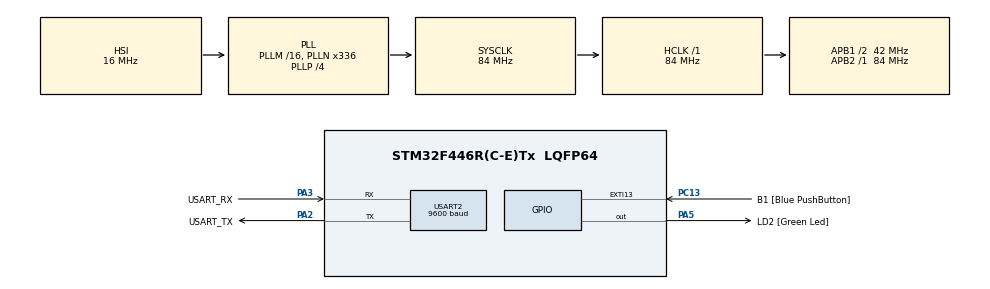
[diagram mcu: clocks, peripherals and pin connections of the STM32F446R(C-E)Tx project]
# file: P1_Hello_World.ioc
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Mcu.Family=STM32F4
Mcu.Name=STM32F446R(C-E)Tx
Mcu.Package=LQFP64
NVIC.PriorityGroup=NVIC_PRIORITYGROUP_4
NVIC.TIM5_IRQn=true\:0\:0\:false\:false\:true\:false\:true\:true
NVIC.TimeBase=TIM5_IRQn
NVIC.TimeBaseIP=TIM5
NVIC.USART2_IRQn=true\:0\:0\:false\:false\:true\:true\:true\:true
PA13.GPIO_Label=TMS
PA13.Signal=SYS_JTMS-SWDIO
PA14.GPIO_Label=TCK
PA14.Signal=SYS_JTCK-SWCLK
PA2.GPIO_Label=USART_TX
PA2.Mode=Asynchronous
PA2.Signal=USART2_TX
PA3.GPIO_Label=USART_RX
PA3.Mode=Asynchronous
PA3.Signal=USART2_RX
PA5.GPIO_Label=LD2 [Green Led]
PA5.Signal=GPIO_Output
PB3.GPIO_Label=SWO
PB3.Signal=SYS_JTDO-SWO
PC13.GPIO_Label=B1 [Blue PushButton]
PC13.GPIO_ModeDefaultEXTI=GPIO_MODE_IT_FALLING
PC13.Signal=GPXTI13
PC14-OSC32_IN.Signal=RCC_OSC32_IN
PC15-OSC32_OUT.Signal=RCC_OSC32_OUT
PH0-OSC_IN.Signal=RCC_OSC_IN
PH1-OSC_OUT.Signal=RCC_OSC_OUT
ProjectManager.HeapSize=0x200
ProjectManager.StackSize=0x400
ProjectManager.TargetToolchain=STM32CubeIDE
RCC.AHBFreq_Value=84000000
RCC.APB1CLKDivider=RCC_HCLK_DIV2
RCC.APB1Freq_Value=42000000
RCC.APB1TimFreq_Value=84000000
RCC.APB2Freq_Value=84000000
RCC.APB2TimFreq_Value=84000000
RCC.CortexFreq_Value=84000000
RCC.FLatency-AdvancedSettings=FLASH_LATENCY_2
RCC.HCLKFreq_Value=84000000
RCC.HSE_VALUE=8000000
RCC.HSI_VALUE=16000000
RCC.LSE_VALUE=32768
RCC.PLLN=336
RCC.PLLP=RCC_PLLP_DIV4
RCC.SYSCLKFreq_VALUE=84000000
RCC.SYSCLKSource=RCC_SYSCLKSOURCE_PLLCLK
RCC.USBFreq_Value=168000000
RCC.VCOOutputFreq_Value=336000000
USART2.BaudRate=9600
USART2.VirtualMode=VM_ASYNC
VP_SYS_VS_tim5.Mode=TIM5
board=NUCLEO-F446RE

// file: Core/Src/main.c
/* USER CODE BEGIN Header */
/**
  ******************************************************************************
  * @file           : main.c
  * @brief          : Main program body
  ******************************************************************************
  * @attention
  *
  * Copyright (c) 2023 STMicroelectronics.
  * All rights reserved.
  *
  * This software is licensed under terms that can be found in the LICENSE file
  * in the root directory of this software component.
  * If no LICENSE file comes with this software, it is provided AS-IS.
  *
  ******************************************************************************
  */
/* USER CODE END Header */
#include "main.h"

/* USER CODE BEGIN Includes */
#include "FreeRTOS.h"
#include "task.h"
#include <stdio.h>
#define TRUE 1
#define FALSE 0
#define AVAILABLE TRUE
#define NOT_AVAILABLE FALSE
/* USER CODE END Includes */

UART_HandleTypeDef huart2;

/* USER CODE BEGIN PV */
void vTask1_handler(void *params);
void vTask2_handler(void *params);
/* USER CODE END PV */

void SystemClock_Config(void);
static void MX_GPIO_Init(void);
static void MX_USART2_UART_Init(void);

/* USER CODE BEGIN 0 */
uint8_t UART_ACCESS_KEY = AVAILABLE;
/* USER CODE END 0 */

int main(void)
{

  /* MCU Configuration--------------------------------------------------------*/

  /* Reset of all peripherals, Initializes the Flash interface and the Systick. */
  HAL_Init();

  /* USER CODE BEGIN Init */
  TaskHandle_t xTaskHanle1 =NULL;
  TaskHandle_t xTaskHanle2 =NULL;
  /* USER CODE END Init */

  /* Configure the system clock */
  SystemClock_Config();

  /* Initialize all configured peripherals */
  MX_GPIO_Init();
  MX_USART2_UART_Init();
  /* USER CODE BEGIN 2 */
 xTaskCreate(vTask1_handler, "Task-1",200,NULL,2,&xTaskHanle1);
 xTaskCreate(vTask2_handler, "Task-2",200,NULL,2,&xTaskHanle2);
 vTaskStartScheduler();
  /* USER CODE END 2 */

  /* Infinite loop */
  while (1)
  {

  }
}

void SystemClock_Config(void)
{
  RCC_OscInitTypeDef RCC_OscInitStruct = {0};
  RCC_ClkInitTypeDef RCC_ClkInitStruct = {0};

  /** Configure the main internal regulator output voltage
  */
  __HAL_RCC_PWR_CLK_ENABLE();
  __HAL_PWR_VOLTAGESCALING_CONFIG(PWR_REGULATOR_VOLTAGE_SCALE3);

  /** Initializes the RCC Oscillators according to the specified parameters
  * in the RCC_OscInitTypeDef structure.
  */
  RCC_OscInitStruct.OscillatorType = RCC_OSCILLATORTYPE_HSI;
  RCC_OscInitStruct.HSIState = RCC_HSI_ON;
  RCC_OscInitStruct.HSICalibrationValue = RCC_HSICALIBRATION_DEFAULT;
  RCC_OscInitStruct.PLL.PLLState = RCC_PLL_ON;
  RCC_OscInitStruct.PLL.PLLSource = RCC_PLLSOURCE_HSI;
  RCC_OscInitStruct.PLL.PLLM = 16;
  RCC_OscInitStruct.PLL.PLLN = 336;
  RCC_OscInitStruct.PLL.PLLP = RCC_PLLP_DIV4;
  RCC_OscInitStruct.PLL.PLLQ = 2;
  RCC_OscInitStruct.PLL.PLLR = 2;
  if (HAL_RCC_OscConfig(&RCC_OscInitStruct) != HAL_OK)
  {
    Error_Handler();
  }

  /** Initializes the CPU, AHB and APB buses clocks
  */
  RCC_ClkInitStruct.ClockType = RCC_CLOCKTYPE_HCLK|RCC_CLOCKTYPE_SYSCLK
                              |RCC_CLOCKTYPE_PCLK1|RCC_CLOCKTYPE_PCLK2;
  RCC_ClkInitStruct.SYSCLKSource = RCC_SYSCLKSOURCE_PLLCLK;
  RCC_ClkInitStruct.AHBCLKDivider = RCC_SYSCLK_DIV1;
  RCC_ClkInitStruct.APB1CLKDivider = RCC_HCLK_DIV2;
  RCC_ClkInitStruct.APB2CLKDivider = RCC_HCLK_DIV1;

  if (HAL_RCC_ClockConfig(&RCC_ClkInitStruct, FLASH_LATENCY_2) != HAL_OK)
  {
    Error_Handler();
  }
}

static void MX_USART2_UART_Init(void)
{

  huart2.Instance = USART2;
  huart2.Init.BaudRate = 9600;
  huart2.Init.WordLength = UART_WORDLENGTH_8B;
  huart2.Init.StopBits = UART_STOPBITS_1;
  huart2.Init.Parity = UART_PARITY_NONE;
  huart2.Init.Mode = UART_MODE_TX_RX;
  huart2.Init.HwFlowCtl = UART_HWCONTROL_NONE;
  huart2.Init.OverSampling = UART_OVERSAMPLING_16;
  if (HAL_UART_Init(&huart2) != HAL_OK)
  {
    Error_Handler();
  }

}

static void MX_GPIO_Init(void)
{
  GPIO_InitTypeDef GPIO_InitStruct = {0};

  /* GPIO Ports Clock Enable */
  __HAL_RCC_GPIOC_CLK_ENABLE();
  __HAL_RCC_GPIOH_CLK_ENABLE();
  __HAL_RCC_GPIOA_CLK_ENABLE();
  __HAL_RCC_GPIOB_CLK_ENABLE();

  /*Configure GPIO pin Output Level */
  HAL_GPIO_WritePin(LD2_GPIO_Port, LD2_Pin, GPIO_PIN_RESET);

  /*Configure GPIO pin : B1_Pin */
  GPIO_InitStruct.Pin = B1_Pin;
  GPIO_InitStruct.Mode = GPIO_MODE_IT_FALLING;
  GPIO_InitStruct.Pull = GPIO_NOPULL;
  HAL_GPIO_Init(B1_GPIO_Port, &GPIO_InitStruct);

  /*Configure GPIO pin : LD2_Pin */
  GPIO_InitStruct.Pin = LD2_Pin;
  GPIO_InitStruct.Mode = GPIO_MODE_OUTPUT_PP;
  GPIO_InitStruct.Pull = GPIO_NOPULL;
  GPIO_InitStruct.Speed = GPIO_SPEED_FREQ_LOW;
  HAL_GPIO_Init(LD2_GPIO_Port, &GPIO_InitStruct);

}

/* USER CODE BEGIN 4 */
void vTask1_handler(void *params){

	while(1)
	{
		if(UART_ACCESS_KEY == AVAILABLE){
			UART_ACCESS_KEY == NOT_AVAILABLE;
		char *dat ="This is From Task-1 \r \n";
		printf("This is from Task -1 \n");
        HAL_UART_Transmit(&huart2,(uint8_t *)dat,24,HAL_MAX_DELAY);
        UART_ACCESS_KEY == AVAILABLE;
        taskYIELD();
	}
	}
}

void vTask2_handler(void *params){

	while(1)
	{
		if(UART_ACCESS_KEY== AVAILABLE){
			UART_ACCESS_KEY == NOT_AVAILABLE;
		char *dat = "This is From Task-2 \r \n";
		printf("This is from Task -2 \n");
		HAL_UART_Transmit(&huart2,(uint8_t *)dat,24,HAL_MAX_DELAY);
		UART_ACCESS_KEY== AVAILABLE;
		taskYIELD();
	}
	}
}

/* USER CODE END 4 */

void HAL_TIM_PeriodElapsedCallback(TIM_HandleTypeDef *htim)
{
  if (htim->Instance == TIM5) {
    HAL_IncTick();
  }
}

void Error_Handler(void)
{
  __disable_irq();
  while (1)
  {
  }
}
